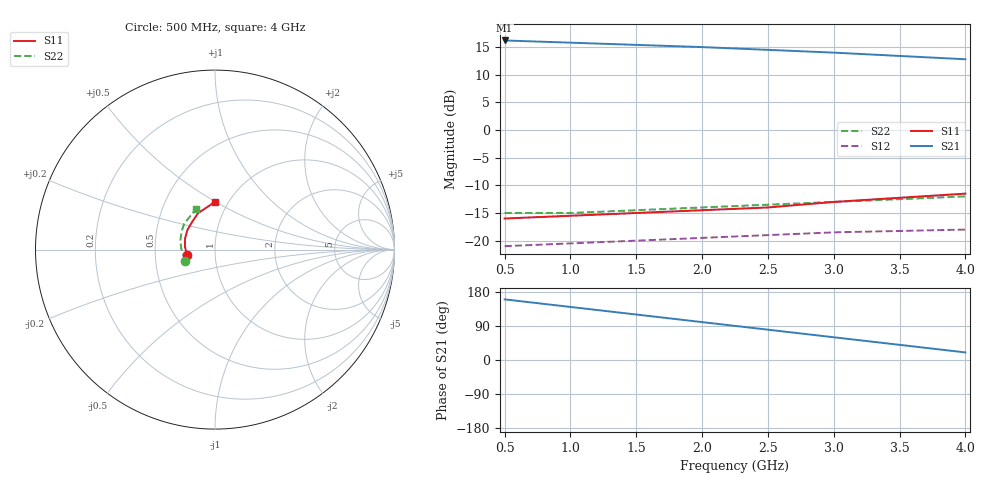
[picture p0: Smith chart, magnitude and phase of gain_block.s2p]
! Illustrative 50 ohm MMIC gain block, biased at Vd = 4.0 V, Id = 50 mA.
! Synthetic: shaped like the class (a Darlington pair, gain rolling off
! with frequency, ~-15 dB match), not measured from any particular part.
! Columns: freq  S11(dB ang)  S21(dB ang)  S12(dB ang)  S22(dB ang)
# GHz S DB R 50
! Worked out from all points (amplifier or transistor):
!   7 points, 500 MHz to 4 GHz, reference 50 ohm
!   highest |S21| = 16.2 dB at 500 MHz (marker M1)
!   |S21| within 3 dB of that: start of sweep to 3.667 GHz
!   unconditionally stable (mu >= 1): start of sweep to end of sweep
!   at 1 GHz: K = 1.12, MAG = 16.0 dB, |S12| = -20.5 dB
!   at 2 GHz: K = 1.11, MAG = 15.3 dB, |S12| = -19.5 dB
!   at 4 GHz: K = 1.12, MAG = 13.3 dB, |S12| = -18.0 dB
0.5  -16.00 -170.0  16.20 160.0  -21.00 10.0  -15.00 -160.0
1  -15.50 175.0  15.80 140.0  -20.50 5.0  -15.00 -170.0
1.5  -15.00 160.0  15.40 120.0  -20.00 0.0  -14.50 178.0
2  -14.50 145.0  15.00 100.0  -19.50 -5.0  -14.00 165.0
2.5  -14.00 130.0  14.50 80.0  -19.00 -10.0  -13.50 152.0
3  -13.00 115.0  14.00 60.0  -18.50 -15.0  -13.00 140.0
4  -11.50 90.0  12.80 20.0  -18.00 -25.0  -12.00 115.0
